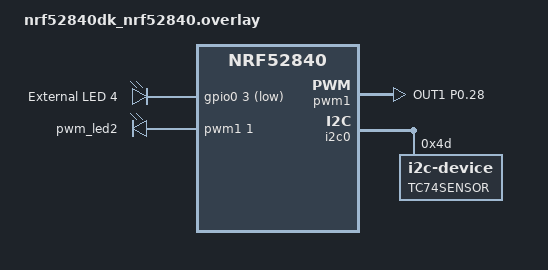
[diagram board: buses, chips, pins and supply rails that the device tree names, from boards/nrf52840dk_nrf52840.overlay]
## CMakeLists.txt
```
cmake_minimum_required(VERSION 3.20.0)
find_package(Zephyr REQUIRED HINTS $ENV{ZEPHYR_BASE})
project(SETR_Assignment3)

target_include_directories(app PRIVATE include)

target_sources(app 
PRIVATE 
src/main.c 
src/cmdproc.c 
src/rtdb.c 
src/uart.c 
src/io.c
src/sensor_i2c.c
src/pwm.c)
```

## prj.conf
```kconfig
CONFIG_CONSOLE=y
CONFIG_UART_CONSOLE=y
CONFIG_PRINTK=y
CONFIG_GPIO=y

CONFIG_SERIAL=y
CONFIG_UART_ASYNC_API=y
CONFIG_TIMING_FUNCTIONS=y
CONFIG_RING_BUFFER=y

CONFIG_TIMESLICING=y
CONFIG_TIMESLICE_SIZE=10
CONFIG_TIMESLICE_PRIORITY=4

CONFIG_ENTROPY_GENERATOR=y
CONFIG_TEST_RANDOM_GENERATOR=y

CONFIG_PWM=y
CONFIG_I2C=y
```

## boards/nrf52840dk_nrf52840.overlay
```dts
// To get started, press Ctrl+Space to bring up the completion menu and view the available nodes.

// You can also use the buttons in the sidebar to perform actions on nodes.
// Actions currently available include:

// * Enabling / disabling the node
// * Adding the bus to a bus
// * Removing the node
// * Connecting ADC channels

// For more help, browse the DeviceTree documentation at https://docs.zephyrproject.org/latest/guides/dts/index.html
// You can also visit the nRF DeviceTree extension documentation at https://nrfconnect.github.io/vscode-nrf-connect/devicetree/nrfdevicetree.html
/ {
	
	extleds {
		compatible = "gpio-leds";
		extled4: extled_4 {
			gpios = <&gpio0 3 GPIO_ACTIVE_LOW>;
			label = "External LED 4";
		};
	};	
	
	pwmleds {
		compatible = "pwm-leds";
		pwm_led2: pwm_led_2 {
			// Note that the "1" refers to the PWM channel (0...3)
			pwms = <&pwm1 1 PWM_MSEC(20) PWM_POLARITY_INVERTED>;
		};
	};


};

&pwm1 {
	status = "okay";
	pinctrl-0 = <&pwm1_default>;
	pinctrl-1 = <&pwm1_sleep>;
	pinctrl-names = "default", "sleep";	
};

&pinctrl {
	
	pwm1_default: pwm1_default {
		group1 {
			// Note that here PWM channels are labeled PWM_OUTx
			psels = <NRF_PSEL(PWM_OUT1, 0, 28)>;
			nordic,invert;
		};
	};

	pwm1_sleep: pwm1_sleep {
		group1 {
			// Note that here PWM channels are labeled PWM_OUTx
			psels = <NRF_PSEL(PWM_OUT1, 0, 28)>;			
		};
	};
};

// To get started, press Ctrl+Space to bring up the completion menu and view the available nodes.

// You can also use the buttons in the sidebar to perform actions on nodes.
// Actions currently available include:

// * Enabling / disabling the node
// * Adding the bus to a bus
// * Removing the node
// * Connecting ADC channels

// For more help, browse the DeviceTree documentation at https://docs.zephyrproject.org/latest/guides/dts/index.html
// You can also visit the nRF DeviceTree extension documentation at https://nrfconnect.github.io/vscode-nrf-connect/devicetree/nrfdevicetree.html
&i2c0 {
    tc74sensor: tc74sensor@4D{
        compatible = "i2c-device";
        reg = <0x4D>;
        label = "TC74SENSOR";
    };
};
```

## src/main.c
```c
#include <zephyr/kernel.h>
#include "io.h"
#include "uart.h"
#include "rtdb.h"
#include "pwm.h"
#include "sensor_i2c.h"

bool setpoint_defined = false;
bool max_temp_defined = false;
bool uart_mode = false;

int temp_setpoint_buffer = 25;
int temp_max_buffer = 40;

#define TEMP_UPDATE_INTERVAL_MS 1000
#define CONTROL_INTERVAL_MS     500

void temperature_task(void)
{
    while (1) {
        if (!setpoint_defined || !max_temp_defined || !rtdb_get_system_state()) {
            k_msleep(500);
            continue;
        }

        int temp = sensor_init_read();
        if (temp >= 0) {
            rtdb_set_current_temp(temp);
        }

        k_msleep(TEMP_UPDATE_INTERVAL_MS);
    }
}

void control_task(void)
{
    int last_temp = -1000;
    int last_set = -1000;
    float integral = 0.0f;
    float previous_error = 0.0f;

    float Kp, Ki, Kd;
    rtdb_get_pid_params(&Kp, &Ki, &Kd);

    while (1) 
    {
        if (!rtdb_get_system_state()) 
        {
            
            io_set_led(0, 0);
            io_set_led(1, 0);
            io_set_led(2, 0);
            io_set_led(3, 0);
            pwm_set_dc(0);
            last_temp = -1000;
            last_set = -1000;
            integral = 0;
            previous_error = 0;
            k_msleep(CONTROL_INTERVAL_MS);
            continue;
        }

        int t = rtdb_get_current_temp();
        int s = rtdb_get_set_temp();
        int m = rtdb_get_max_temp();

        
        if ((t != last_temp || s != last_set) && !uart_mode) 
        {
            int m = rtdb_get_max_temp();
            printk("\rCurrent Temperature: %2d ºC    |    Desired Temperature: %2d ºC    |    Maximum Temperature: %2d ºC\033[K", t, s, m);
            last_temp = t;
            last_set = s;
        }

        //if (t >= m) {
        //    pwm_ctrl_set_duty_cycle_percent(0);
        //    k_msleep(CONTROL_INTERVAL_MS);
        //    continue;
        //}

        float error = (float)(s - t);
        integral += error * (CONTROL_INTERVAL_MS / 1000.0f);
        float derivative = (error - previous_error) / (CONTROL_INTERVAL_MS / 1000.0f);
        float output = Kp * error + Ki * integral + Kd * derivative;

        if (output < 0) output = 0;
        if (output > 100) output = 100;

        pwm_set_dc(100 - (int)output);

        if (error > 2) 
        {
            io_set_led(1, 0);
            io_blink_led(2); // heating
            io_set_led(3, 0);
        } 
        else if (error < -2) 
        {
            io_set_led(1, 0);
            io_set_led(2, 0);
            io_blink_led(3); // cooling
        } 
        else 
        {
            io_set_led(1, 1); // stable
            io_set_led(2, 0);
            io_set_led(3, 0);
        }

        k_msleep(CONTROL_INTERVAL_MS);
    }
}

K_THREAD_DEFINE(temp_id, 1024, temperature_task, NULL, NULL, NULL, 5, 0, 0);
K_THREAD_DEFINE(ctrl_id, 1024, control_task, NULL, NULL, NULL, 5, 0, 0);

void main(void)
{
    printk("Boot start\n");

    io_init();            
    uart_init();        
    rtdb_init();          
    pwm_init();

    printk("\033[2J\033[H");
    printk("╔════════════════════════════════════╗\n");
    printk("║        SMART HOME HEATER           ║\n");
    printk("╚════════════════════════════════════╝\n\n");

    printk("[SETUP] Use ▲ (Button 2) and ▼ (Button 4) to define setpoint.\n");
    printk("[INFO] Press Button 1 to confirm setpoint.\n\n");
    printk("\r\033[2K[SETUP] Desired Temperature: %2d ºC  |  Maximum Temperature: ?? ºC", temp_setpoint_buffer);
}
```

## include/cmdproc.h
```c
/**
 * @file cmdproc.h
 * @brief Command processor for UART protocol handling.
 *
 * This module parses incoming UART commands, validates checksum and framing,
 * and updates the system state accordingly.
 *
 * @authors Duarte Caldeira, Tiago Saraiva
 *
 */

#ifndef CMDPROC_H
#define CMDPROC_H

/**
 * @brief Processes a command received via UART.
 *
 *
 * @param buf Pointer to the received data buffer.
 * @param len Length of the received data.
 * @return 0 if successful, negative value if there's an error.
 */
int cmd_process(const uint8_t *buf, int len);

#endif
```

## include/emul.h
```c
#ifndef EMUL_H
#define EMUL_H

void emul_init(void);
int sensorEmulator(void);

#endif
```

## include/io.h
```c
/**
 * @file io.h
 * @brief GPIO interface for LED control and button handling in the Smart Home Heater project.
 *
 * This module provides functions for initializing and controlling
 * GPIO-connected LEDs and buttons. It supports system interaction
 * via physical buttons and visual status indication through LEDs.
 *
 * @authors Duarte Caldeira, Tiago Saraiva
 * 
 */

#ifndef IO_H
#define IO_H

/**
 * @brief Initializes all LED and button GPIOs.
 *
 * Configures each LED as output and each button as input with interrupt
 * capabilities. Also registers callback functions for button events.
 */
void io_init(void);

/**
 * @brief Sets the state of a specific LED.
 *
 * @param id The ID/index of the LED (0 to 3).
 * @param state The desired state: 1 (on) or 0 (off).
 */
void io_set_led(int id, int state);

/**
 * @brief Toggles the state of a specific LED.
 *
 * Useful for blinking indication.
 *
 * @param id The ID/index of the LED (0 to 3).
 */
void io_blink_led(int id);

#endif // IO_H
```

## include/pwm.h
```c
/**
 * @file pwm.h
 * @brief PWM control interface for Smart Home Heater.
 *
 * Provides functions to initialize and configure PWM output
 * to control a heating element or fan with duty cycle.
 *
 * @authors Duarte Caldeira, Tiago Saraiva
 * 
 */

#ifndef PWM_H
#define PWM_H

#include <zephyr/drivers/pwm.h>

#define PWM_FREQ_HZ      100                                 /**< PWM frequency in Hz. */
#define PWM_PERIOD_NS    (1000000000UL / PWM_FREQ_HZ)        /**< PWM period in nanoseconds. */

/**
 * @brief Initializes the PWM hardware.
 *
 * @return 0 on success, negative value on failure.
 */
int pwm_init(void);

/**
 * @brief Sets the PWM duty cycle.
 *
 * @param percent Duty cycle as a percentage (0 to 100).
 * @return 0 on success, negative value on error.
 */
int pwm_set_dc(uint8_t percent);

#endif // PWM_H
```

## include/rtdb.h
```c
/**
 * @file rtdb.h
 * @brief Real-Time Database.
 *
 * This module stores system state including current temperature,
 * desired setpoint, maximum limit, and PID parameters.
 * Thread-safe access is ensured via mutexes.
 *
 * @authors Duarte Caldeira, Tiago Saraiva
 * 
 */

#ifndef RTDB_H
#define RTDB_H

/**
 * @brief Initializes the RTDB module.
 */
void rtdb_init(void);

/**
 * @brief Sets the current measured temperature.
 *
 * @param temp The current temperature in degrees Celsius.
 */
void rtdb_set_current_temp(int temp);

/**
 * @brief Gets the current measured temperature.
 *
 * @return Current temperature in degrees Celsius.
 */
int rtdb_get_current_temp(void);

/**
 * @brief Sets the desired setpoint temperature.
 *
 * @param temp The desired temperature in degrees Celsius.
 */
void rtdb_set_set_temp(int temp);

/**
 * @brief Gets the desired setpoint temperature.
 *
 * @return Desired temperature in degrees Celsius.
 */
int rtdb_get_set_temp(void);

/**
 * @brief Increments the desired setpoint temperature.
 */
void rtdb_increment_set_temp(void);

/**
 * @brief Decrements the desired setpoint temperature.
 */
void rtdb_decrement_set_temp(void);

/**
 * @brief Sets the maximum allowed temperature.
 *
 * @param max Maximum temperature in degrees Celsius.
 */
void rtdb_set_max_temp(int max);

/**
 * @brief Gets the maximum allowed temperature.
 *
 * @return Maximum temperature in degrees Celsius.
 */
int rtdb_get_max_temp(void);

/**
 * @brief Toggles the current system ON/OFF state.
 */
void rtdb_toggle_system_state(void);

/**
 * @brief Gets the current system ON/OFF state.
 *
 * @return 1 if ON, 0 if OFF.
 */
int rtdb_get_system_state(void);

/**
 * @brief Sets the PID control parameters.
 *
 * @param kp Proportional gain.
 * @param ki Integral gain.
 * @param kd Derivative gain.
 */
void rtdb_set_pid_params(float kp, float ki, float kd);

/**
 * @brief Gets the PID control parameters.
 *
 * @param kp Pointer to store proportional gain.
 * @param ki Pointer to store integral gain.
 * @param kd Pointer to store derivative gain.
 */
void rtdb_get_pid_params(float *kp, float *ki, float *kd);

#endif // RTDB_H
```

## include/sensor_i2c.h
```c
/**
 * @file sensor_i2c.h
 * @brief Temperature sensor interface over I2C.
 *
 * Provides a function to read the current temperature from
 * the TC74 I2C digital temperature sensor.
 *
 * @authors Duarte Caldeira, Tiago Saraiva
 * 
 */

#ifndef SENSOR_I2C_H
#define SENSOR_I2C_H

/**
 * @brief Initializes and reads temperature from the sensor.
 *
 * @return Temperature in degrees Celsius on success, or -1 on failure.
 */
int sensor_init_read(void);

#endif // SENSOR_I2C_H
```

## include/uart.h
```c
/**
 * @file uart.h
 * @brief UART communication interface for Smart Home Heater.
 *
 * This module enables UART communication with external devices.
 * It supports sending commands and receiving frames using UART0.
 *
 * @authors Duarte Caldeira, Tiago Saraiva
 * 
 */

#ifndef UART_H
#define UART_H

/**
 * @brief Initializes UART and sets up RX callback.
 */
void uart_init(void);

/**
 * @brief Sends a null-terminated string over UART.
 *
 * @param msg Pointer to the string to send.
 */
void uart_send_string(const char *msg);

/**
 * @brief Sends bytes over UART.
 *
 * @param buf Pointer to the buffer.
 * @param len Number of bytes to send.
 */
void uart_send_bytes(const uint8_t *buf, int len);

#endif // UART_H
```

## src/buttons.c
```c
#include <zephyr/kernel.h>
#include <zephyr/device.h>
#include <zephyr/drivers/gpio.h>
#include "rtdb.h"

// Definições dos botões com base nos aliases do DTS
#define BTN0_NODE DT_ALIAS(sw0)
#define BTN1_NODE DT_ALIAS(sw1)
#define BTN2_NODE DT_ALIAS(sw2)
#define BTN3_NODE DT_ALIAS(sw3)

static const struct gpio_dt_spec btns[] = {
    GPIO_DT_SPEC_GET(BTN0_NODE, gpios),
    GPIO_DT_SPEC_GET(BTN1_NODE, gpios),
    GPIO_DT_SPEC_GET(BTN2_NODE, gpios),
    GPIO_DT_SPEC_GET(BTN3_NODE, gpios),
};

static int last_state[4] = {1, 1, 1, 1}; // Estado anterior de cada botão (ativo-alto por defeito)

void buttons_task(void *arg1, void *arg2, void *arg3)
{
    for (int i = 0; i < 4; i++) {
        if (!device_is_ready(btns[i].port)) {
            return;
        }
        gpio_pin_configure_dt(&btns[i], GPIO_INPUT);
    }

    while (1) 
    {
        for (int i = 0; i < 4; i++) {
            int state = gpio_pin_get_dt(&btns[i]);
            if (state == 0 && last_state[i] == 1) { // Detetar transição de 1 → 0 (pressionado)
                k_mutex_lock(&RTDB_mutex, K_FOREVER);
                switch (i) {
                    case 0:
                        RTDB.systemOn = !RTDB.systemOn;
                        break;
                    case 1:
                        RTDB.currentTemp++;
                        break;
                    case 2:
                        RTDB.currentTemp--;
                        break;
                    case 3:
                        // ação adicional opcional
                        break;
                }
                k_mutex_unlock(&RTDB_mutex);
            }
            last_state[i] = state;
        }

        k_msleep(50); // Debounce simples
    }
}
```

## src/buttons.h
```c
#ifndef BUTTONS_H
#define BUTTONS_H

void buttons_task(void *, void *, void *);

#endif // BUTTONS_H
```

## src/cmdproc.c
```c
#include <stdio.h>
#include <string.h>
#include <stdlib.h>
#include "cmdproc.h"
#include "rtdb.h"
#include "uart.h"

static void send_response(const char *cmd, const char *data)
{
    char frame[32];
    int sum = 0;

    sum += cmd[0];
    for (int i = 0; data[i] != '\0'; i++) sum += data[i];

    char cs[4];
    snprintf(cs, sizeof(cs), "%03d", sum % 256);
    snprintf(frame, sizeof(frame), "#%s%s%s!", cmd, data, cs);
    uart_send_string(frame);
}

static int checksum_valid(const uint8_t *buf, int len)
{
    int sum = 0;

    for (int i = 1; i < len - 4; i++)
    {
        sum += buf[i];
    }

    char received_cs[4] = { buf[len - 4], buf[len - 3], buf[len - 2], '\0' };
    char expected_cs[4];

    snprintf(expected_cs, sizeof(expected_cs), "%03d", sum % 256);

    return strncmp(received_cs, expected_cs, 3) == 0;
}

int cmd_process(const uint8_t *buf, int len)
{
    if (len < 6 || buf[0] != '#' || buf[len - 1] != '!') 
    {
        send_response("Ef", "");
        return -1;
    }

    if (!checksum_valid(buf, len)) 
    {
        send_response("Es", "");
        return -2;
    }

    char cmd = buf[1];

    switch (cmd) 
    {
        case 'C': 
        {
            printk("\nUART Response: ");
            int temp = rtdb_get_current_temp();
            char tstr[6];
            snprintf(tstr, sizeof(tstr), "%+03d", temp);
            send_response("c", tstr);

            
            break;
        }

        case 'M': 
        {
            printk("\nUART Response: ");

            if (len < 9) {
                send_response("Ei", "");
                return -3;
            }
            char tstr[4] = { buf[2], buf[3], buf[4], '\0' };
            int new_max = atoi(tstr);
            rtdb_set_max_temp(new_max);
            send_response("Eo", "");

            
            break;
        }

        case 'S': 
        {
            printk("\nUART Response: ");

            if (len < 11) {
            send_response("Ef", "");  // framing error (comando demasiado curto)
            return -3;
        }

        char kp_str[4] = { buf[2], buf[3], buf[4], '\0' };
        char ki_str[4] = { buf[5], buf[6], buf[7], '\0' };
        char kd_str[4] = { buf[8], buf[9], buf[10], '\0' };

        float kp = atoi(kp_str) / 100.0f;
        float ki = atoi(ki_str) / 100.0f;
        float kd = atoi(kd_str) / 100.0f;

        rtdb_set_pid_params(kp, ki, kd);  // assumes you’ve defined this function

        send_response("Eo", "");  // comando aceite

        printk("\nCommand: ");
        break;
        }   

        default:

            printk("\nUART Response: ");
            send_response("Ei", "");

            
            break;
    }

    return 0;
}
```

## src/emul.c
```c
#include "emul.h"

void emul_init(void) {}

int sensorEmulator(void)
{
    return 25; // estático
}
```

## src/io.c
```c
#include <zephyr/device.h>
#include <zephyr/drivers/gpio.h>
#include <zephyr/kernel.h>
#include <zephyr/sys/printk.h>
#include "io.h"
#include "rtdb.h"

#define BTN0_NODE DT_ALIAS(sw0)
#define BTN1_NODE DT_ALIAS(sw1)
#define BTN2_NODE DT_ALIAS(sw2)
#define BTN3_NODE DT_ALIAS(sw3)

#define LED0_NODE DT_ALIAS(led0)
#define LED1_NODE DT_ALIAS(led1)
#define LED2_NODE DT_ALIAS(led2)
#define LED3_NODE DT_ALIAS(led3)

static const struct gpio_dt_spec leds[] = {
    GPIO_DT_SPEC_GET(LED0_NODE, gpios),
    GPIO_DT_SPEC_GET(LED1_NODE, gpios),
    GPIO_DT_SPEC_GET(LED2_NODE, gpios),
    GPIO_DT_SPEC_GET(LED3_NODE, gpios),
};

static const struct gpio_dt_spec buttons[] = {
    GPIO_DT_SPEC_GET(BTN0_NODE, gpios),
    GPIO_DT_SPEC_GET(BTN1_NODE, gpios),
    GPIO_DT_SPEC_GET(BTN2_NODE, gpios),
    GPIO_DT_SPEC_GET(BTN3_NODE, gpios),
};

extern bool setpoint_defined;
extern bool max_temp_defined;
extern int temp_setpoint_buffer;
extern int temp_max_buffer;
extern bool uart_mode;

static struct gpio_callback btn_cb_data[4];

void io_set_led(int id, int state)
{
    gpio_pin_set_dt(&leds[id], state);
}

void io_blink_led(int id)
{
    static bool state = false;
    gpio_pin_set_dt(&leds[id], state);
    state = !state;
}

void button_pressed(const struct device *dev, struct gpio_callback *cb, uint32_t pins)
{
    if (cb == &btn_cb_data[0]) 
    {  
        if (!setpoint_defined) 
        {
            setpoint_defined = true;
            printk("\n[INFO] Desired temperature set to: %d ºC\n", temp_setpoint_buffer);
            printk("[SETUP] Use ▲ (Button 2) and ▼ (Button 4) to define maximum temperature.\n");
        } 
        else if (!max_temp_defined) 
        {
            max_temp_defined = true;
            rtdb_set_set_temp(temp_setpoint_buffer);
            rtdb_set_max_temp(temp_max_buffer);
            printk("\n[INFO] Maximum temperature set to: %d ºC\n", temp_max_buffer);
            printk("[INFO] System is now ready!\n");
            printk("[INFO] Press Button 1 to toggle ON/OFF.\n\n");
        } 
        else 
        {
            rtdb_toggle_system_state();
            io_set_led(0, rtdb_get_system_state());
        }
    }

    else if (cb == &btn_cb_data[1]) 
    {  
        if (!setpoint_defined) 
        {
            temp_setpoint_buffer++;
        } 
        else if (!max_temp_defined) 
        {
            temp_max_buffer++;
        } 
        else 
        {
            rtdb_increment_set_temp();
        }

        if (!setpoint_defined) 
        {
            printk("\r[SETUP] Desired Temperature: %2d ºC   |   Maximum Temperature: ?? ºC\033[K", temp_setpoint_buffer);
        } 
        else if (!max_temp_defined) 
        {
            printk("\r[SETUP] Desired Temperature: %2d ºC   |   Maximum Temperature: %2d ºC\033[K", temp_setpoint_buffer, temp_max_buffer);
        } 
        else 
        {
            int t = rtdb_get_current_temp();
            int s = rtdb_get_set_temp();
            int m = rtdb_get_max_temp();
            printk("\n[INFO] Desired temperature set to: %d ºC\n", s);
            printk("Current Temperature: %2d ºC    |    Desired Temperature: %2d ºC    |    Maximum Temperature: %2d ºC\033[K", t, s, m);
        }
    }

    else if (cb == &btn_cb_data[3]) 
    {  
        if (!setpoint_defined) 
        {
            temp_setpoint_buffer--;
        } 
        else if (!max_temp_defined) 
        {
            temp_max_buffer--;
        } 
        else 
        {
            rtdb_decrement_set_temp();
        }

        if (!setpoint_defined) 
        {
            printk("\r[SETUP] Desired Temperature: %2d ºC   |   Maximum Temperature: ?? ºC\033[K", temp_setpoint_buffer);
        } 
        else if (!max_temp_defined) 
        {
            printk("\r[SETUP] Desired Temperature: %2d ºC   |   Maximum Temperature: %2d ºC\033[K", temp_setpoint_buffer, temp_max_buffer);
        } 
        else 
        {
            int t = rtdb_get_current_temp();
            int s = rtdb_get_set_temp();
            int m = rtdb_get_max_temp();
            printk("\n[INFO] Desired temperature set to: %d ºC\n", s);
            printk("Current Temperature: %2d ºC    |    Desired Temperature: %2d ºC    |    Maximum Temperature: %2d ºC\033[K", t, s, m);
        }
    }

    else if (cb == &btn_cb_data[2]) 
    {  
        if (!setpoint_defined || !max_temp_defined) return;

        uart_mode = !uart_mode;

        if (uart_mode) 
        {
            printk("\n\n[UART MODE] ─ UART Command Interface ─────────────\n");
            printk("Command: ");
        } 
        else 
        {
            int t = rtdb_get_current_temp();
            int s = rtdb_get_set_temp();
            int m = rtdb_get_max_temp();
            printk("\n[INFO] UART mode closed. Returning to system view...\n");
            printk("Current Temperature: %2d ºC    |    Desired Temperature: %2d ºC    |    Maximum Temperature: %2d ºC\033[K", t, s, m);
        }
    }
}

void io_init(void)
{
    for (int i = 0; i < 4; i++) 
    {
        if (!device_is_ready(leds[i].port)) return;
        gpio_pin_configure_dt(&leds[i], GPIO_OUTPUT_INACTIVE);
    }

    for (int i = 0; i < 4; i++) 
    {
        if (!device_is_ready(buttons[i].port)) return;
        gpio_pin_configure_dt(&buttons[i], GPIO_INPUT);
        gpio_pin_interrupt_configure_dt(&buttons[i], GPIO_INT_EDGE_TO_ACTIVE);
        gpio_init_callback(&btn_cb_data[i], button_pressed, BIT(buttons[i].pin));
        gpio_add_callback(buttons[i].port, &btn_cb_data[i]);
    }
}
```
